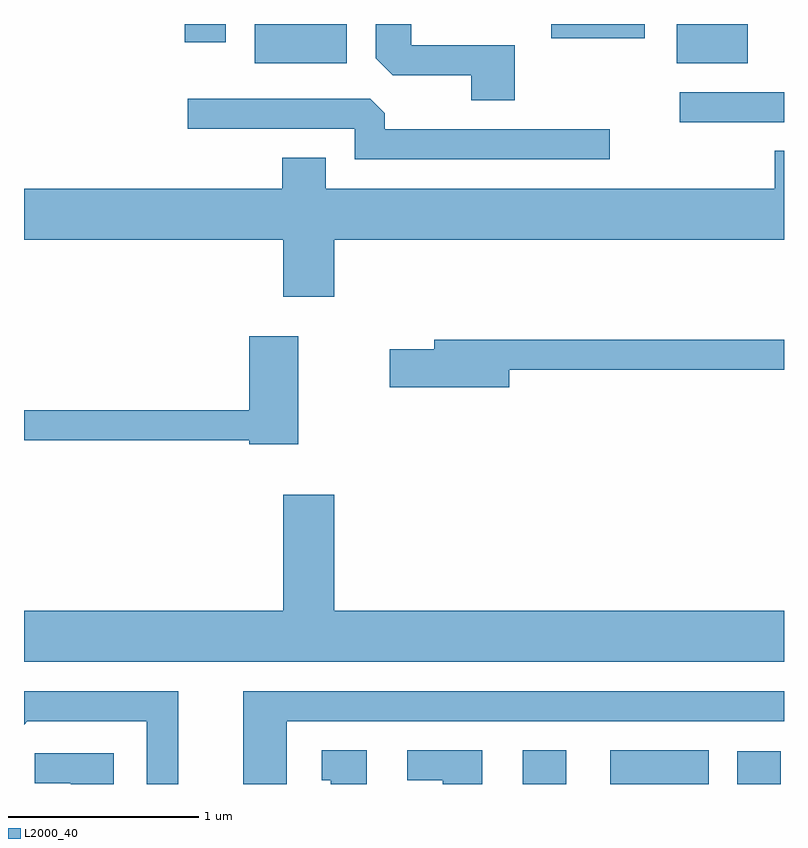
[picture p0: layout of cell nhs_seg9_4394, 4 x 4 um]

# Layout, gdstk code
import gdstk
lib = gdstk.Library(unit=1e-6, precision=1e-09)
def R(c, l, rs):  # rectangles x0, y0, x1, y1
    for r in rs: c.add(gdstk.rectangle(r[:2], r[2:], *l))
def P(c, l, *ps):  # polygons
    for p in ps: c.add(gdstk.Polygon(p, *l))
L2000_40 = (2000, 40)

nhs_seg9_4394 = lib.new_cell('nhs_seg9_4394')
R(nhs_seg9_4394, L2000_40, [(316.236,2064.432,316.464,2064.609), (316.696,2064.432,317.214,2064.609), (317.366,2064.432,317.594,2064.604), (317.063,2067.916,317.611,2068.074), (314.826,2068.226,315.309,2068.432), (317.046,2068.226,317.419,2068.432), (314.456,2068.336,314.674,2068.432), (316.386,2068.356,316.879,2068.432)])
P(nhs_seg9_4394, L2000_40, [(316.194,2068.319),(315.649,2068.319),(315.649,2068.432),(315.461,2068.432),(315.461,2068.251),(315.552,2068.161),(315.966,2068.161),(315.966,2068.031),(316.194,2068.031)],
  [(316.693,2067.879),(315.509,2067.879),(315.509,2067.963),(315.434,2068.039),(314.473,2068.039),(314.473,2067.881),(315.351,2067.881),(315.351,2067.721),(316.693,2067.721)],
  [(315.244,2067.296),(317.611,2067.296),(317.611,2067.764),(317.561,2067.764),(317.561,2067.564),(315.199,2067.564),(315.199,2067.729),(314.971,2067.729),(314.971,2067.564),(313.611,2067.564),(313.611,2067.296),(314.976,2067.296),(314.976,2066.996),(315.244,2066.996)],
  [(315.054,2066.789),(314.796,2066.789),(314.796,2066.399),(313.611,2066.399),(313.611,2066.241),(314.796,2066.241),(314.796,2066.221),(315.054,2066.221)],
  [(316.164,2066.611),(317.611,2066.611),(317.611,2066.769),(315.771,2066.769),(315.771,2066.719),(315.536,2066.719),(315.536,2066.521),(316.164,2066.521)],
  [(317.611,2065.344),(315.244,2065.344),(315.244,2065.954),(314.976,2065.954),(314.976,2065.344),(313.611,2065.344),(313.611,2065.076),(317.611,2065.076)],
  [(314.424,2064.919),(313.611,2064.919),(313.611,2064.745),(313.627,2064.761),(314.256,2064.761),(314.256,2064.432),(314.424,2064.432)],
  [(314.994,2064.761),(317.611,2064.761),(317.611,2064.919),(314.766,2064.919),(314.766,2064.432),(314.994,2064.432)],
  [(316.024,2064.609),(315.628,2064.609),(315.628,2064.451),(315.816,2064.451),(315.816,2064.432),(316.024,2064.432)],
  [(315.414,2064.609),(315.178,2064.609),(315.178,2064.451),(315.226,2064.451),(315.226,2064.432),(315.414,2064.432)],
  [(314.084,2064.594),(313.668,2064.594),(313.668,2064.436),(313.856,2064.436),(313.856,2064.432),(314.084,2064.432)])

lib.write_gds('nhs_seg9_4394.gds')
